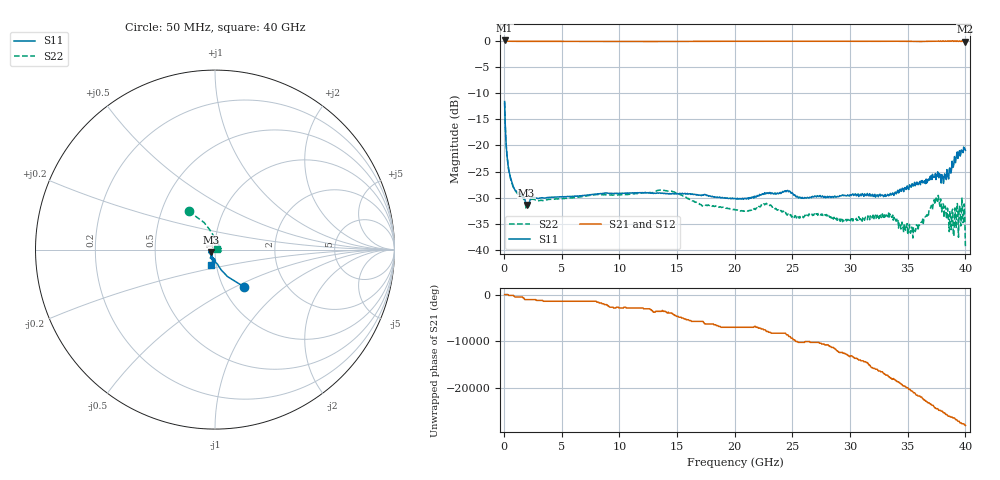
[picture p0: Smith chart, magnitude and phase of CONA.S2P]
! D:\calibration_data\load_pull_templates\Focus_LPWAVE_Project\default\CONA.S2P
# GHZ S MA R 50
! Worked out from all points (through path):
!   800 points, 50 MHz to 40 GHz, reference 50 ohm
!   highest |S21| = 0.17 dB at 50 MHz (marker M1); lowest = 0.0 dB at 40 GHz (marker M2)
!   lowest |S11| = -31.4 dB at 1.95 GHz (marker M3), VSWR 1.06, Z = 47.9 - j1.53 ohm
!   |S11| at or under -10 dB: start of sweep to end of sweep
!   |S22| runs from -39.3 to -11.7 dB; largest |S21 - S12| = 0
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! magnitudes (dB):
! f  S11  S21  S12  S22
! 50 MHz  -11.5  0.2  0.2  -11.7
! 350 MHz  -23.8  0.0  0.0  -23.8
! 600 MHz  -26.5  0.0  0.0  -26.7
! 950 MHz  -28.6  0.0  0.0  -28.6
! 1.95 GHz  -31.4  0.0  0.0  -32.0
! 2.55 GHz  -30.0  0.0  0.0  -30.3
! 6.75 GHz  -29.6  0.0  0.0  -29.8
! 13.4 GHz  -29.2  0.0  0.0  -28.6
! 14.75 GHz  -29.3  0.0  0.0  -28.9
! 17.2 GHz  -29.5  0.0  0.0  -31.6
! 20.05 GHz  -30.2  0.0  0.0  -32.4
! 22.75 GHz  -29.2  0.0  0.0  -31.1
! 24.95 GHz  -29.0  0.0  0.0  -33.8
! 26.7 GHz  -29.9  0.0  0.0  -33.2
! 29.5 GHz  -29.6  0.0  0.0  -34.4
! 33.35 GHz  -29.7  0.0  0.0  -32.9
! 35.45 GHz  -27.8  0.0  0.0  -37.8
! 37.65 GHz  -26.0  0.0  0.0  -29.6
! 38.3 GHz  -26.2  0.0  0.0  -32.2
! 38.8 GHz  -24.5  0.0  0.0  -35.4
! 39.7 GHz  -21.1  0.1  0.1  -30.0
! 40 GHz  -20.9  0.0  0.0  -39.3
